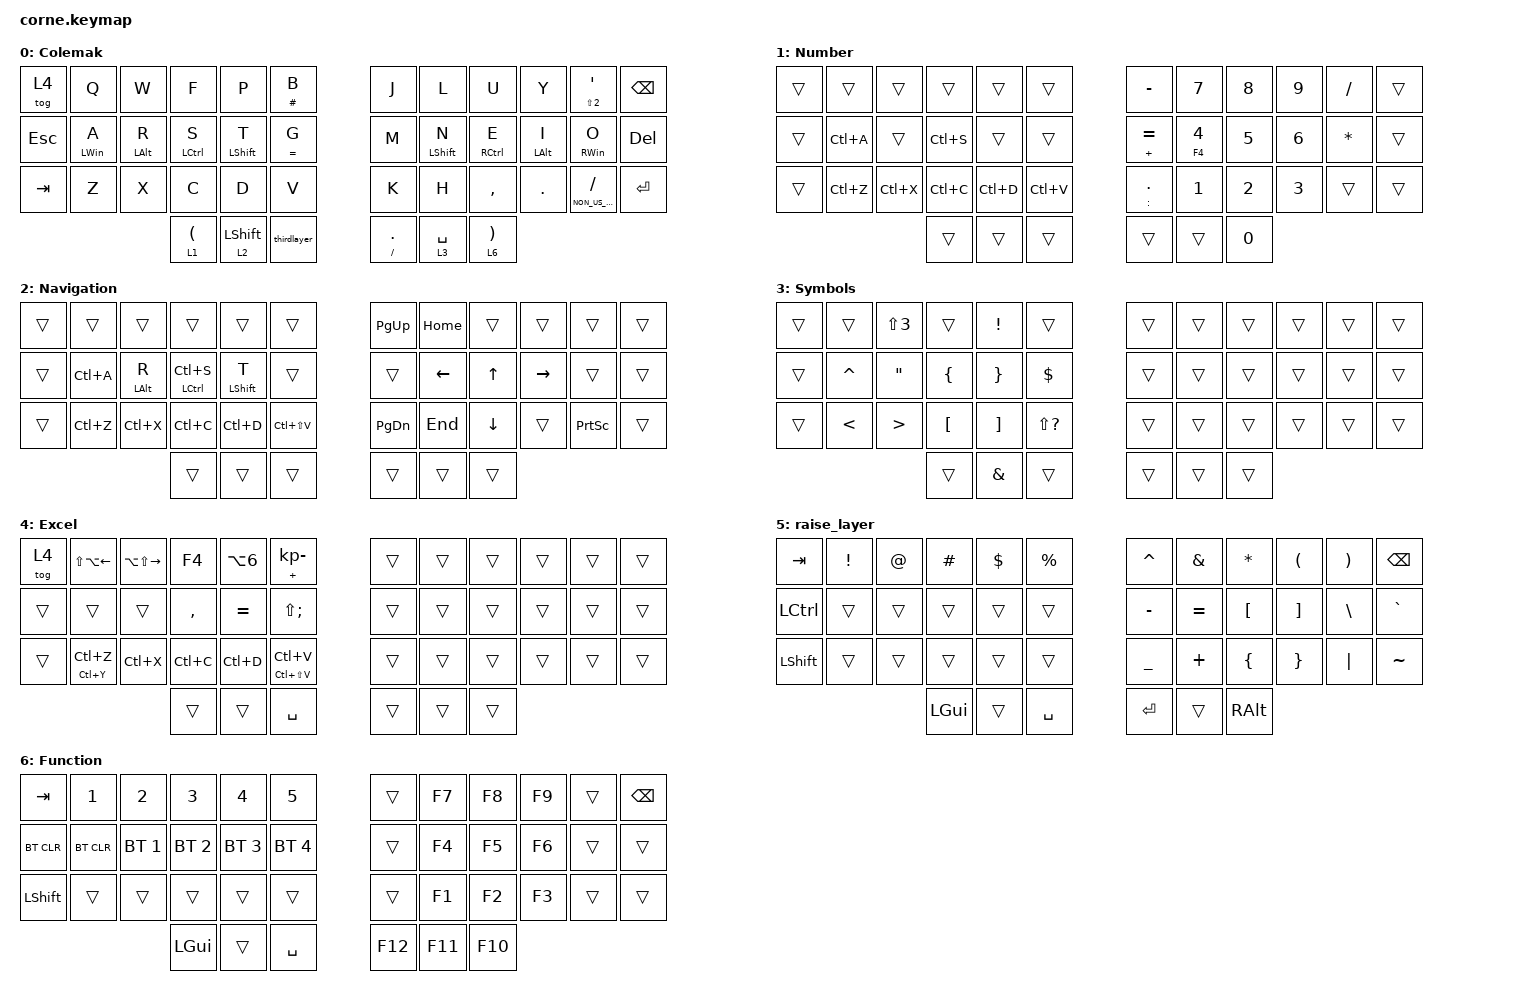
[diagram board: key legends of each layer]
/*
 * Copyright (c) 2020 The ZMK Contributors
 *
 * SPDX-License-Identifier: MIT
 */

#include <behaviors.dtsi>
#include <dt-bindings/zmk/bt.h>
#include <dt-bindings/zmk/keys.h>

/ {
    behaviors {
        sticky_shift_caps_word: sticky_shift_caps_word {
            compatible = "zmk,behavior-mod-morph";
            label = "STICKY_SHIFT_CAPS_WORD";
            bindings = <&kp LEFT_SHIFT>, <&caps_word>;

            #binding-cells = <0>;
            mods = <(MOD_LSFT|MOD_RSFT)>;
        };

        layer_sscw: layer_sscw {
            compatible = "zmk,behavior-hold-tap";
            label = "LAYER_SSCW";
            bindings = <&none>, <&none>;

            #binding-cells = <2>;
            flavor = "balanced";
            tapping-term-ms = <200>;
        };

        thirdlayer: thirdlayer {
            compatible = "zmk,behavior-tap-dance";
            label = "THIRDLAYER";
            #binding-cells = <0>;
            bindings = <&lt 6 PERIOD>, <&kp NON_US_BACKSLASH>;
        };

        home_row: hr {
            compatible = "zmk,behavior-hold-tap";
            label = "hr";
            bindings = <&kp>, <&kp>;

            #binding-cells = <2>;
            tapping-term-ms = <200>;
            flavor = "tap-preferred";
        };
    };

    macros {
        WpasS: WpasS {
            compatible = "zmk,behavior-macro";
            #binding-cells = <0>;
            bindings = <&kp LS(A) &kp U &kp T &kp U &kp M &kp N &kp N2 &kp N5>;
            label = "current wpw";
            tap-ms = <10>;
        };

        P123: P123 {
            compatible = "zmk,behavior-macro";
            #binding-cells = <0>;
            bindings = <&kp R &kp E &kp D &kp T &kp R &kp E &kp E &kp N1 &kp N0>;
            label = "P123";
        };
    };

    combos {
        compatible = "zmk,combos";

        BackspacE {
            bindings = <&kp BACKSPACE>;
            key-positions = <7 8>;
        };

        DeletE {
            bindings = <&kp DELETE>;
            key-positions = <8 9>;
        };

        ReturN {
            bindings = <&kp RET>;
            key-positions = <19 20>;
        };

        EscapE {
            bindings = <&kp ESCAPE>;
            key-positions = <3 4>;
        };

        TaB {
            bindings = <&kp TAB>;
            key-positions = <15 16>;
        };

        WpasS {
            bindings = <&WpasS>;
            key-positions = <27 28>;
        };
    };

    keymap {
        compatible = "zmk,keymap";

        Colemak {
            // -----------------------------------------------------------------------------------------
            // |  TAB |  Q  |  W  |  E  |  R  |  T  |   |  Y  |  U   |  I  |  O  |  P  | BSPC |
            // | CTRL |  A  |  S  |  D  |  F  |  G  |   |  H  |  J   |  K  |  L  |  ;  |  '   |
            // | SHFT |  Z  |  X  |  C  |  V  |  B  |   |  N  |  M   |  ,  |  .  |  /  | ESC  |
            //                    | GUI | LWR | SPC |   | ENT | RSE  | ALT |

            bindings = <
&tog 4      &kp Q                 &kp W                 &kp F                   &kp P                   &home_row HASH B     &kp J             &kp L                   &kp U                    &kp Y                 &mt LS(NUMBER_2) APOS      &kp BSPC
&kp ESCAPE  &home_row LEFT_WIN A  &home_row LEFT_ALT R  &home_row LCTRL S       &home_row LEFT_SHIFT T  &home_row EQUAL G    &kp M             &home_row LEFT_SHIFT N  &home_row RCTRL E        &home_row LEFT_ALT I  &home_row RIGHT_WIN O      &kp DELETE
&kp TAB     &kp Z                 &kp X                 &kp C                   &kp D                   &kp V                &kp K             &kp H                   &kp COMMA                &kp DOT               &mt NON_US_BACKSLASH FSLH  &kp RET
                                                        &lt 1 LEFT_PARENTHESIS  &lt 2 LEFT_SHIFT        &thirdlayer          &mt SLASH PERIOD  &lt 3 SPACE             &lt 6 RIGHT_PARENTHESIS
            >;
        };

        Number {
            bindings = <
&trans  &trans     &trans     &trans     &trans     &trans       &kp MINUS         &kp N7           &kp N8        &kp N9        &kp SLASH     &trans
&trans  &kp LC(A)  &trans     &kp LC(S)  &trans     &trans       &mt PLUS EQUAL    &mt F4 NUMBER_4  &kp N5        &kp NUMBER_6  &kp ASTERISK  &trans
&trans  &kp LC(Z)  &kp LC(X)  &kp LC(C)  &kp LC(D)  &kp LC(V)    &mt COLON PERIOD  &kp NUMBER_1     &kp NUMBER_2  &kp N3        &trans        &trans
                              &trans     &trans     &trans       &trans            &trans           &kp N0
            >;
        };

        Navigation {
            bindings = <
&trans  &trans     &trans                &trans                 &trans                  &trans           &kp PG_UP      &kp HOME  &trans    &trans     &trans           &trans
&trans  &kp LC(A)  &home_row LEFT_ALT R  &home_row LCTRL LC(S)  &home_row LEFT_SHIFT T  &trans           &trans         &kp LEFT  &kp UP    &kp RIGHT  &trans           &trans
&trans  &kp LC(Z)  &kp LC(X)             &kp LC(C)              &kp LC(D)               &kp LC(LS(V))    &kp PAGE_DOWN  &kp END   &kp DOWN  &trans     &kp PRINTSCREEN  &trans
                                         &trans                 &trans                  &trans           &trans         &trans    &trans
            >;
        };

        Symbols {
            bindings = <
&trans  &trans         &kp LS(NUMBER_3)   &trans          &kp EXCLAMATION  &trans           &trans  &trans  &trans  &trans  &trans  &trans
&trans  &kp CARET      &kp DOUBLE_QUOTES  &kp LEFT_BRACE  &kp RIGHT_BRACE  &kp DOLLAR       &trans  &trans  &trans  &trans  &trans  &trans
&trans  &kp LESS_THAN  &kp GREATER_THAN   &kp LBKT        &kp RBKT         &kp LS(QMARK)    &trans  &trans  &trans  &trans  &trans  &trans
                                          &trans          &kp AMPERSAND    &trans           &trans  &trans  &trans
            >;
        };

        Excel {
            bindings = <
&tog 4  &kp LS(LA(LEFT))  &kp LA(LS(RIGHT))  &kp F4     &kp LA(NUMBER_6)  &mt PLUS KP_MINUS      &trans  &trans  &trans  &trans  &trans  &trans
&trans  &trans            &trans             &kp COMMA  &kp EQUAL         &kp LS(SEMI)           &trans  &trans  &trans  &trans  &trans  &trans
&trans  &mt LC(Y) LC(Z)   &kp LC(X)          &kp LC(C)  &kp LC(D)         &mt LC(LS(V)) LC(V)    &trans  &trans  &trans  &trans  &trans  &trans
                                             &trans     &trans            &kp SPACE              &trans  &trans  &trans
            >;
        };

        raise_layer {
            // -----------------------------------------------------------------------------------------
            // |  TAB |  !  |  @  |  #  |  $  |  %  |   |  ^  |  &  |  *  |  (  |  )  | BSPC |
            // | CTRL |     |     |     |     |     |   |  -  |  =  |  [  |  ]  |  \  |  `   |
            // | SHFT |     |     |     |     |     |   |  _  |  +  |  {  |  }  | "|" |  ~   |
            //                    | GUI |     | SPC |   | ENT |     | ALT |

            bindings = <
&kp TAB    &kp EXCL  &kp AT  &kp HASH  &kp DLLR  &kp PRCNT    &kp CARET  &kp AMPS   &kp ASTRK  &kp LPAR  &kp RPAR  &kp BSPC
&kp LCTRL  &trans    &trans  &trans    &trans    &trans       &kp MINUS  &kp EQUAL  &kp LBKT   &kp RBKT  &kp BSLH  &kp GRAVE
&kp LSHFT  &trans    &trans  &trans    &trans    &trans       &kp UNDER  &kp PLUS   &kp LBRC   &kp RBRC  &kp PIPE  &kp TILDE
                             &kp LGUI  &trans    &kp SPACE    &kp RET    &trans     &kp RALT
            >;
        };

        Function {
            // -----------------------------------------------------------------------------------------
            // |  TAB |  1  |  2  |  3  |  4  |  5  |   |  6  |  7  |  8  |  9  |  0  | BSPC |
            // | BTCLR| BT1 | BT2 | BT3 | BT4 | BT5 |   | LFT | DWN |  UP | RGT |     |      |
            // | SHFT |     |     |     |     |     |   |     |     |     |     |     |      |
            //                    | GUI |     | SPC |   | ENT |     | ALT |

            bindings = <
&kp TAB     &kp N1      &kp N2        &kp N3        &kp N4        &kp N5          &trans   &kp F7   &kp F8   &kp F9  &trans  &kp BSPC
&bt BT_CLR  &bt BT_CLR  &bt BT_SEL 1  &bt BT_SEL 2  &bt BT_SEL 3  &bt BT_SEL 4    &trans   &kp F4   &kp F5   &kp F6  &trans  &trans
&kp LSHFT   &trans      &trans        &trans        &trans        &trans          &trans   &kp F1   &kp F2   &kp F3  &trans  &trans
                                      &kp LGUI      &trans        &kp SPACE       &kp F12  &kp F11  &kp F10
            >;
        };
    };

    conditional_layers {
        compatible = "zmk,conditional-layers";

        yooke {
            if-layers = <1 2>;
            then-layer = <5>;
        };
    };
};
